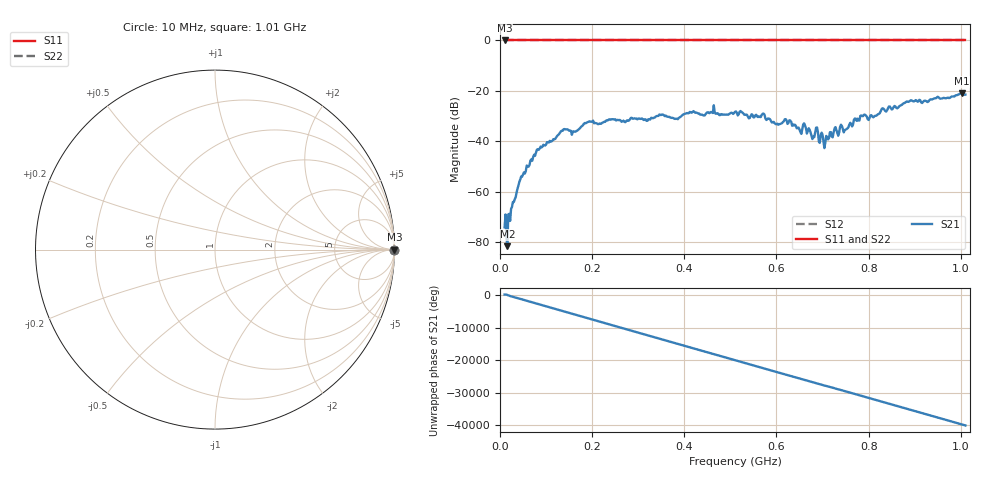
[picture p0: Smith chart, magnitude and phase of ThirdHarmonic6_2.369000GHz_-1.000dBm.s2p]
! 8/17/2025 3:41:46 AM
! C:\ANRITSUVNA\TEMP\TEMP.S2P
! CHANNEL.1
! TR.MEASUREMENT
! RAW.DATA
! RF.CORRECTION.OFF
! AVERAGING.OFF
! IF.BANDWIDTH: 5KHZ
! SWEEPTYPE:  FREQ.SWEEP(Linear)
! Reference Plane Port Info
! PORT:  PORT1  PORT2
! DISTANCE:  0  m  0  m
! TIME:  0  s  0  s
! PHASE.OFFSET:  0  deg.  0  deg.
! LOSS:  0  dB  0  dB
! REF.LOSS:  0  dB  0  dB
! REF.FREQ:  0  Hz  0  Hz
! Power Info
! POWER:  -20  dBm  -20  dBm
! EFF.POWER:  -20  dBm  -20  dBm
! SOURCE.ATTEN:  0  dB  0  dB
! TEST.ATTEN:  0  dB  0  dB
# GHZ S RI R 50.0
! FREQ.GHZ  S11RE  S11IM  S21RE  S21IM  S12RE  S12IM  S22RE  S22IM
!; PortSelection: Port_12
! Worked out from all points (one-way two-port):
!   501 points, 10 MHz to 1.01 GHz, reference 50 ohm
!   highest |S21| = -20.95 dB at 1.002 GHz (marker M1); lowest = -81.6 dB at 16 MHz (marker M2)
!   lowest |S11| = 0.0 dB at 10 MHz (marker M3)
!   |S11| at or under -10 dB: nowhere
!   |S22| runs from 0.0 to 0.0 dB; largest |S21 - S12| = 1.1
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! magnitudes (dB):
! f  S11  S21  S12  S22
! 10 MHz  0.0  -74.1  0.0  0.0
! 16 MHz  0.0  -81.6  0.0  0.0
! 18 MHz  0.0  -69.0  0.0  0.0
! 22 MHz  0.0  -71.6  0.0  0.0
! 44 MHz  0.0  -55.1  0.0  0.0
! 82 MHz  0.0  -43.1  0.0  0.0
! 136 MHz  0.0  -35.8  0.0  0.0
! 178 MHz  0.0  -34.0  0.0  0.0
! 344 MHz  0.0  -29.9  0.0  0.0
! 510 MHz  0.0  -28.3  0.0  0.0
! 570 MHz  0.0  -29.1  0.0  0.0
! 602 MHz  0.0  -33.0  0.0  0.0
! 618 MHz  0.0  -31.3  0.0  0.0
! 652 MHz  0.0  -36.4  0.0  0.0
! 660 MHz  0.0  -32.9  0.0  0.0
! 678 MHz  0.0  -39.1  0.0  0.0
! 686 MHz  0.0  -34.6  0.0  0.0
! 708 MHz  0.0  -37.9  0.0  0.0
! 786 MHz  0.0  -30.0  0.0  0.0
! 844 MHz  0.0  -26.2  0.0  0.0
! 1.002 GHz  0.0  -21.0  0.0  0.0
! 1.01 GHz  0.0  -21.5  0.0  0.0
